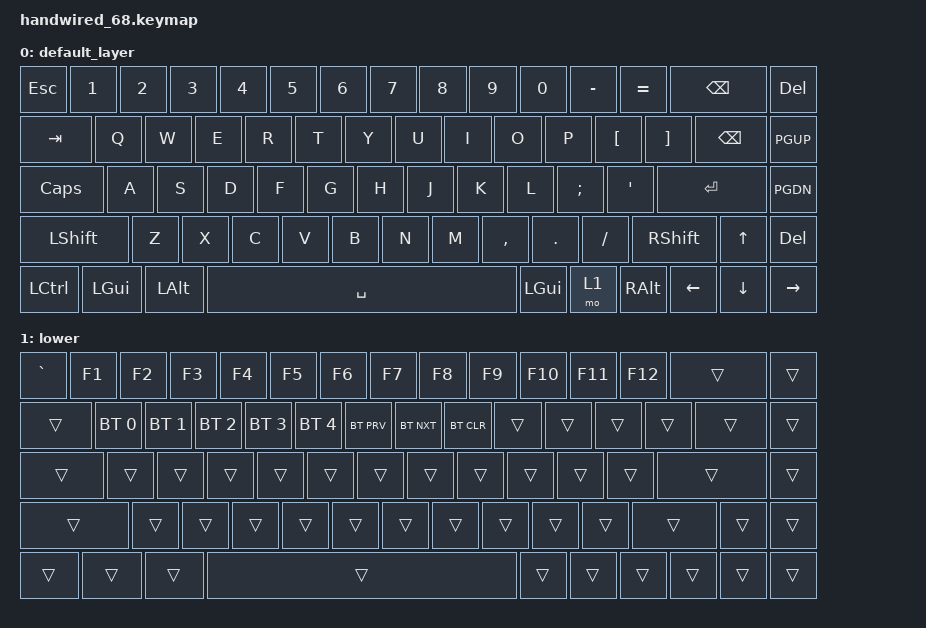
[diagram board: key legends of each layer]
#include <behaviors.dtsi>
#include <dt-bindings/zmk/keys.h>
#include <dt-bindings/zmk/bt.h>
#include <dt-bindings/zmk/outputs.h>
/ {
    behaviors {
        mo: momentary_layer {
            compatible = "zmk,behavior-momentary-layer";
            label = "MO";
        };
    };
    keymap {
        compatible = "zmk,keymap";

        default_layer {
            bindings = <
                &kp ESC     &kp N1     &kp N2     &kp N3     &kp N4     &kp N5     &kp N6     &kp N7     &kp N8     &kp N9     &kp N0     &kp MINUS  &kp EQUAL &kp BSPC   &kp DEL
                &kp TAB       &kp Q     &kp W     &kp E     &kp R     &kp T     &kp Y     &kp U     &kp I     &kp O     &kp P     &kp LBKT   &kp RBKT  &kp BSPC   &kp PGUP
                &kp CAPS        &kp A     &kp S     &kp D     &kp F     &kp G     &kp H     &kp J     &kp K     &kp L     &kp SEMI  &kp SQT    &kp ENTER            &kp PGDN
                &kp LSHIFT        &kp Z     &kp X     &kp C     &kp V     &kp B     &kp N     &kp M     &kp COMMA &kp DOT   &kp SLASH &kp RSHIFT &kp UP    &kp DEL
                &kp LCTRL   &kp LGUI  &kp LALT                      &kp SPACE                               &kp LGUI  &mo 1     &kp RALT   &kp LEFT  &kp DOWN   &kp RIGHT
            >;
        };

        lower {
            bindings = <
                &kp GRAVE &kp F1        &kp F2        &kp F3        &kp F4        &kp F5        &kp F6     &kp F7     &kp F8      &kp F9  &kp F10 &kp F11  &kp F12  &trans    &trans
                &trans      &bt BT_SEL 0  &bt BT_SEL 1  &bt BT_SEL 2  &bt BT_SEL 3  &bt BT_SEL 4  &bt BT_PRV &bt BT_NXT &bt BT_CLR  &trans  &trans  &trans   &trans   &trans    &trans
                &trans        &trans        &trans        &trans        &trans        &trans        &trans     &trans     &trans      &trans  &trans  &trans   &trans             &trans
                &trans          &trans        &trans        &trans        &trans        &trans        &trans     &trans     &trans      &trans  &trans  &trans   &trans   &trans
                &trans    &trans        &trans                      &trans                                                        &trans  &trans  &trans   &trans   &trans    &trans
            >;
        };
    };
};
